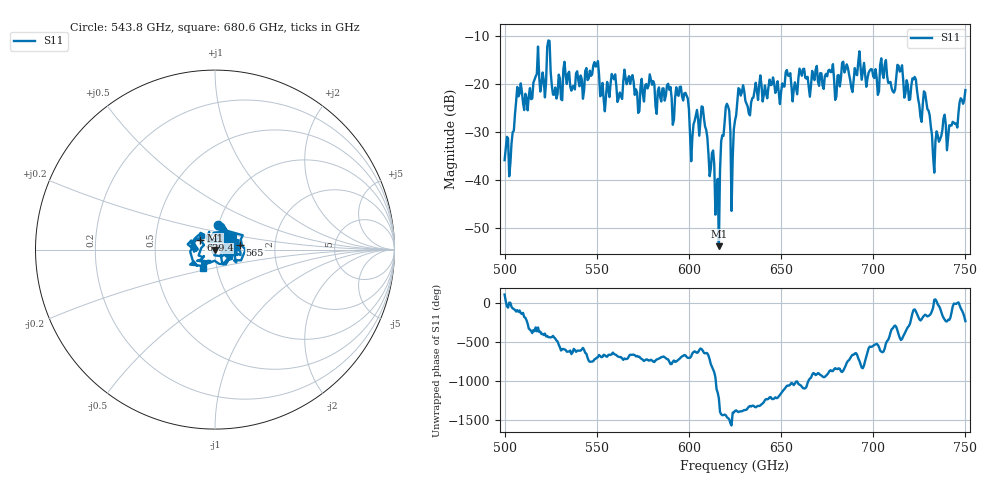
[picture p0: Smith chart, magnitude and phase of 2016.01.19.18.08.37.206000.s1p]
!Created with skrf (http://scikit-rf.org).
# GHz S RI R 50.0
!freq ReS11 ImS11
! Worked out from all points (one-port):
!   401 points, 500 GHz to 750 GHz, reference 50 ohm
!   lowest |S11| = -53.8 dB at 616.2 GHz (marker M1), VSWR 1.00, Z = 49.8 - j0.134 ohm
!   |S11| at or under -10 dB: start of sweep to end of sweep
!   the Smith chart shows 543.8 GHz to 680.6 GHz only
!   S11 on the Smith chart (normalised r, x): 543.8 GHz: 1.00, +0.28; 565 GHz: 1.32, +0.07; 639.4 GHz: 0.85, +0.09; 680.6 GHz: 0.86, -0.18
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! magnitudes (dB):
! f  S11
! 500 GHz  -35.9
! 503.8 GHz  -32.4
! 508.1 GHz  -22.0
! 523.8 GHz  -10.9
! 526.9 GHz  -22.2
! 531.2 GHz  -23.4
! 543.8 GHz  -17.2
! 549.4 GHz  -16.3
! 562.5 GHz  -21.7
! 565 GHz  -17.0
! 593.8 GHz  -22.2
! 601.9 GHz  -31.0
! 608.1 GHz  -27.0
! 615 GHz  -42.0
! 616.2 GHz  -53.8
! 620.6 GHz  -24.1
! 623.1 GHz  -46.4
! 625 GHz  -27.6
! 628.1 GHz  -22.4
! 639.4 GHz  -20.2
! 656.2 GHz  -23.6
! 680.6 GHz  -18.2
! 687.5 GHz  -19.2
! 714.4 GHz  -17.4
! 718.8 GHz  -20.1
! 728.8 GHz  -23.6
! 733.1 GHz  -38.5
! 750 GHz  -21.2
